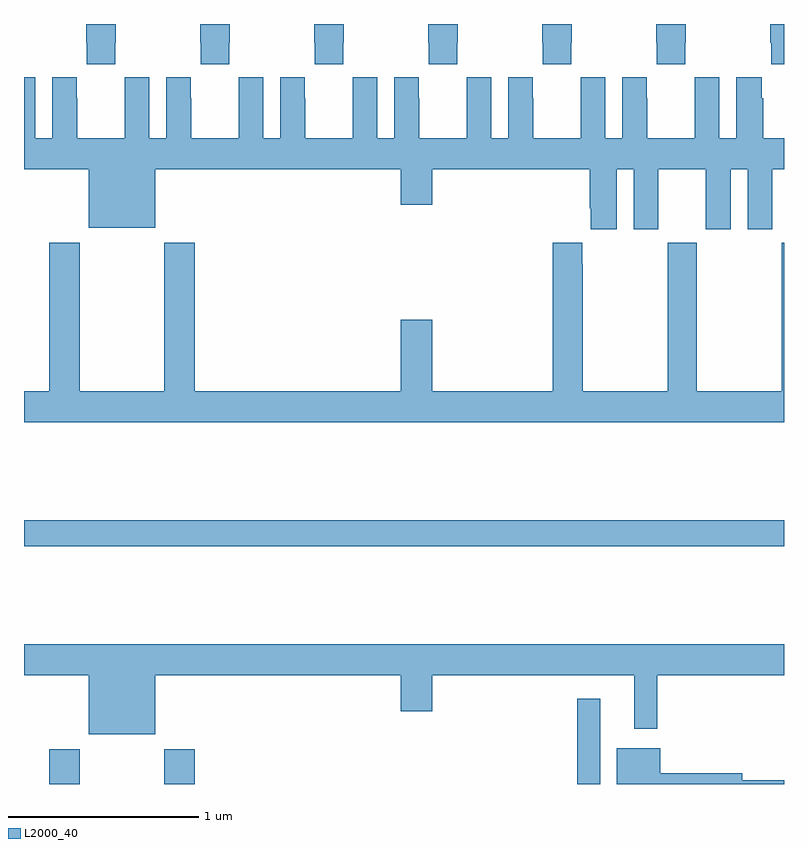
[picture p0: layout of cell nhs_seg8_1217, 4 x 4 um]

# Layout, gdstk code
import gdstk
lib = gdstk.Library(unit=1e-6, precision=1e-09)
def R(c, l, rs):  # rectangles x0, y0, x1, y1
    for r in rs: c.add(gdstk.rectangle(r[:2], r[2:], *l))
def P(c, l, *ps):  # polygons
    for p in ps: c.add(gdstk.Polygon(p, *l))
L2000_40 = (2000, 40)

nhs_seg8_1217 = lib.new_cell('nhs_seg8_1217')
R(nhs_seg8_1217, L2000_40, [(187.133,1143.9,187.293,1144.084), (187.738,1143.9,187.898,1144.084), (189.912,1143.9,190.033,1144.348), (187,1145.152,191,1145.288)])
P(nhs_seg8_1217, L2000_40, [(187.479,1147.801),(187.482,1147.801),(187.482,1147.9),(187.327,1147.9),(187.327,1147.801),(187.329,1147.801),(187.329,1147.689),(187.479,1147.689)],
  [(188.079,1147.801),(188.082,1147.801),(188.082,1147.9),(187.927,1147.9),(187.927,1147.801),(187.929,1147.801),(187.929,1147.689),(188.079,1147.689)],
  [(188.679,1147.801),(188.682,1147.801),(188.682,1147.9),(188.527,1147.9),(188.527,1147.801),(188.529,1147.801),(188.529,1147.689),(188.679,1147.689)],
  [(189.279,1147.801),(189.282,1147.801),(189.282,1147.9),(189.127,1147.9),(189.127,1147.801),(189.129,1147.801),(189.129,1147.689),(189.279,1147.689)],
  [(189.879,1147.801),(189.882,1147.801),(189.882,1147.9),(189.727,1147.9),(189.727,1147.801),(189.729,1147.801),(189.729,1147.689),(189.879,1147.689)],
  [(190.479,1147.801),(190.482,1147.801),(190.482,1147.9),(190.327,1147.9),(190.327,1147.801),(190.329,1147.801),(190.329,1147.689),(190.479,1147.689)],
  [(191,1147.9),(190.927,1147.9),(190.927,1147.801),(190.933,1147.801),(190.933,1147.689),(191,1147.689)],
  [(189.93,1147.508),(189.929,1147.508),(189.929,1147.3),(189.679,1147.3),(189.679,1147.508),(189.678,1147.508),(189.678,1147.621),(189.548,1147.621),(189.548,1147.3),(189.46,1147.3),(189.46,1147.621),(189.33,1147.621),(189.33,1147.508),(189.329,1147.508),(189.329,1147.3),(189.079,1147.3),(189.079,1147.508),(189.078,1147.508),(189.078,1147.621),(188.948,1147.621),(188.948,1147.3),(188.86,1147.3),(188.86,1147.621),(188.73,1147.621),(188.73,1147.508),(188.729,1147.508),(188.729,1147.3),(188.479,1147.3),(188.479,1147.508),(188.478,1147.508),(188.478,1147.621),(188.348,1147.621),(188.348,1147.3),(188.26,1147.3),(188.26,1147.621),(188.13,1147.621),(188.13,1147.508),(188.129,1147.508),(188.129,1147.3),(187.879,1147.3),(187.879,1147.508),(187.878,1147.508),(187.878,1147.621),(187.748,1147.621),(187.748,1147.3),(187.66,1147.3),(187.66,1147.621),(187.53,1147.621),(187.53,1147.508),(187.529,1147.508),(187.529,1147.3),(187.279,1147.3),(187.279,1147.508),(187.278,1147.508),(187.278,1147.621),(187.148,1147.621),(187.148,1147.3),(187.06,1147.3),(187.06,1147.621),(187,1147.621),(187,1147.136),(187.34,1147.136),(187.34,1146.827),(187.69,1146.827),(187.69,1147.136),(188.984,1147.136),(188.984,1146.948),(189.148,1146.948),(189.148,1147.136),(189.977,1147.136),(189.977,1146.931),(189.983,1146.931),(189.983,1146.819),(190.12,1146.819),(190.12,1147.136),(190.208,1147.136),(190.208,1146.819),(190.339,1146.819),(190.339,1147.136),(190.589,1147.136),(190.589,1146.819),(190.72,1146.819),(190.72,1147.136),(190.808,1147.136),(190.808,1146.819),(190.939,1146.819),(190.939,1147.136),(191,1147.136),(191,1147.3),(190.892,1147.3),(190.892,1147.508),(190.882,1147.508),(190.882,1147.621),(190.748,1147.621),(190.748,1147.3),(190.66,1147.3),(190.66,1147.621),(190.53,1147.621),(190.53,1147.508),(190.529,1147.508),(190.529,1147.3),(190.279,1147.3),(190.279,1147.508),(190.278,1147.508),(190.278,1147.621),(190.148,1147.621),(190.148,1147.3),(190.06,1147.3),(190.06,1147.621),(189.93,1147.621)],
  [(187.133,1146.748),(187.133,1145.968),(187,1145.968),(187,1145.804),(191,1145.804),(191,1146.748),(190.987,1146.748),(190.987,1145.968),(190.542,1145.968),(190.542,1146.748),(190.387,1146.748),(190.387,1145.968),(189.942,1145.968),(189.942,1146.635),(189.937,1146.635),(189.937,1146.748),(189.782,1146.748),(189.782,1145.968),(189.148,1145.968),(189.148,1146.343),(188.984,1146.343),(188.984,1145.968),(187.898,1145.968),(187.898,1146.748),(187.738,1146.748),(187.738,1145.968),(187.293,1145.968),(187.293,1146.748)],
  [(187.69,1144.472),(188.984,1144.472),(188.984,1144.284),(189.148,1144.284),(189.148,1144.472),(190.211,1144.472),(190.211,1144.191),(190.333,1144.191),(190.333,1144.472),(191,1144.472),(191,1144.636),(187,1144.636),(187,1144.472),(187.34,1144.472),(187.34,1144.163),(187.69,1144.163)],
  [(191,1143.92),(190.78,1143.92),(190.78,1143.956),(190.348,1143.956),(190.348,1144.087),(190.121,1144.087),(190.121,1143.9),(191,1143.9)])

lib.write_gds('nhs_seg8_1217.gds')
